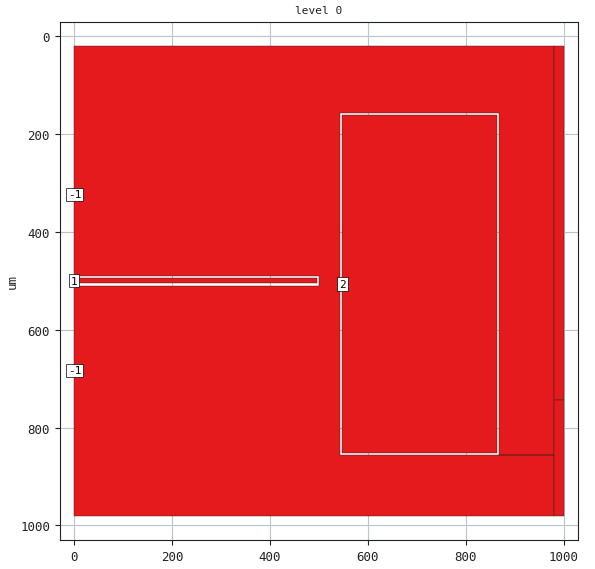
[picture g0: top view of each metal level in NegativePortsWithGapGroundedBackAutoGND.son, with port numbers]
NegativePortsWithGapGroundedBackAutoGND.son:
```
FTYP SONPROJ 15 ! Sonnet Project File
VER 16.52
HEADER
LIC calt2.2.43068 b6ae2bd1257f DESKTOP-SL82IK9 Michael
DAT 03/27/2016 21:13:35
BUILT_BY_CREATED xgeom 16.52 03/26/2016 21:21:12
BUILT_BY_SAVED xgeom 16.52
MDATE 03/27/2016 21:13:34
HDATE 03/27/2016 21:13:34
END HEADER
DIM
FREQ GHZ
IND NH
LNG UM
ANG DEG
CON /OH
CAP PF
RES OH
END DIM
FREQ
ABS 1.0 10.0 
END FREQ
CONTROL
ABS
OPTIONS  -d 
SPEED 0
CACHE_ABS 1
TARG_ABS 300
Q_ACC N
END CONTROL
GEO
TMET "Lossless" 0 SUP 0 0 0 0
BMET "Lossless" 0 SUP 0 0 0 0
BOX 1 1000 1000 2000 2000 20 0
      1000 1 1 0 0 0 0 "Air"
      500 11.9 1 5e-006 0 0 0 "Silicon (intrinsic)"
LORGN 0 1000 U 
POR1 STD
POLY 1013 1
3
1 50 0 0 0 0 500 
POR1 AGND
POLY 1015 1
3
2 50 0 0 0 548.0000082 506.4999917 NONE 
POR1 STD
POLY 1039 1
3
-1 50 0 0 0 1.228404986e-005 323.00001 
POR1 STD
POLY 1039 1
7
-1 50 0 0 0 1.228404986e-005 682.99999 
NUM 5
0 5 -1 N 1013 1 1 100 100 0 0 0 Y
0 495
495.9999938 495
495.9999938 505
0 505
0 495
END
0 5 -1 N 1015 1 1 100 100 0 0 0 Y
548.0000082 160.9999996
864.0000436 160.9999996
864.0000436 851.9999838
548.0000082 851.9999838
548.0000082 160.9999996
END
0 20 -1 N 1039 1 1 100 100 0 0 0 Y
980 20
0 20
0 156
1.228404986e-005 156
1.228404986e-005 490.00002
501 490.00002
501 509.99998
1.228404986e-005 509.99998
1.228404986e-005 856
0 856
0 980
980 980
980 856
869 856
543 856
543 156
869 156
869 856
980 856
980 20
END
0 5 -1 N 1043 1 1 100 100 0 0 0 Y
980 20
1000 20
1000 744
980 744
980 20
END
0 5 -1 N 1044 1 1 100 100 0 0 0 Y
980 744
1000 744
1000 980
980 980
980 744
END
END GEO
OPT
MAX 100
VARS
END
END OPT
VARSWP
END VARSWP
QSG
IMPORT NO
EXTRA_METAL NO
UNITS YES
ALIGN NO
REF NO
VIEW_RES NO
METALS NO
USED NO
END QSG
```
